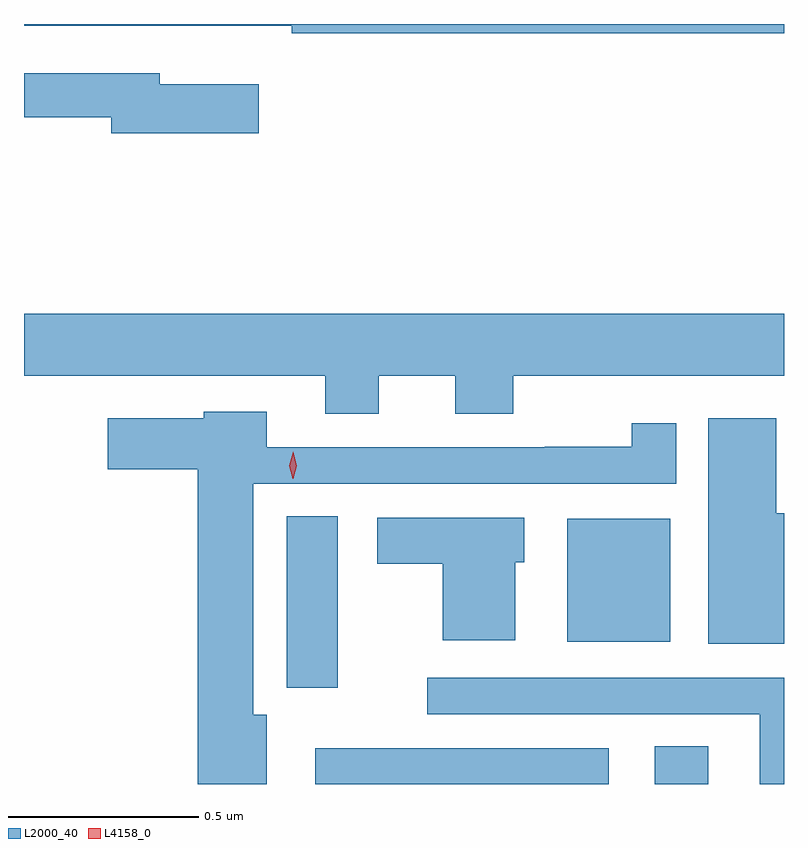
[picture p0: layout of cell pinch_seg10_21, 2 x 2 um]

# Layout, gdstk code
import gdstk
lib = gdstk.Library(unit=1e-6, precision=1e-09)
def R(c, l, rs):  # rectangles x0, y0, x1, y1
    for r in rs: c.add(gdstk.rectangle(r[:2], r[2:], *l))
def P(c, l, *ps):  # polygons
    for p in ps: c.add(gdstk.Polygon(p, *l))
L2000_40 = (2000, 40)
L4158_0 = (4158, 0)

pinch_seg10_21 = lib.new_cell('pinch_seg10_21')
R(pinch_seg10_21, L2000_40, [(951.096,1299.242,951.868,1299.336), (951.989,1299.242,952.129,1299.341), (951.02,1299.495,951.154,1299.947), (951.758,1299.617,952.03,1299.94)])
P(pinch_seg10_21, L2000_40, [(952.329,1301.242),(950.329,1301.242),(950.329,1301.238),(950.782,1301.238),(950.782,1301.237),(951.034,1301.237),(951.034,1301.218),(952.329,1301.218)],
  [(950.947,1301.083),(950.686,1301.083),(950.686,1301.112),(950.329,1301.112),(950.329,1300.996),(950.558,1300.996),(950.558,1300.954),(950.947,1300.954)],
  [(951.262,1300.316),(951.464,1300.316),(951.464,1300.217),(951.617,1300.217),(951.617,1300.316),(952.329,1300.316),(952.329,1300.48),(950.329,1300.48),(950.329,1300.316),(951.122,1300.316),(951.122,1300.217),(951.262,1300.217)],
  [(950.968,1299.424),(950.932,1299.424),(950.932,1300.032),(952.045,1300.032),(952.045,1300.192),(951.928,1300.192),(951.928,1300.13),(951.7,1300.13),(951.7,1300.128),(950.968,1300.128),(950.968,1300.222),(950.802,1300.222),(950.802,1300.204),(950.55,1300.204),(950.55,1300.07),(950.786,1300.07),(950.786,1299.242),(950.968,1299.242)],
  [(952.329,1299.955),(952.309,1299.955),(952.309,1300.204),(952.13,1300.204),(952.13,1299.611),(952.329,1299.611)],
  [(951.622,1299.825),(951.646,1299.825),(951.646,1299.943),(951.258,1299.943),(951.258,1299.821),(951.431,1299.821),(951.431,1299.62),(951.622,1299.62)],
  [(952.329,1299.522),(951.39,1299.522),(951.39,1299.426),(952.265,1299.426),(952.265,1299.242),(952.329,1299.242)])
P(pinch_seg10_21, L4158_0, [(951.036,1300.045),(951.036,1300.045),(951.027,1300.08),(951.037,1300.116),(951.037,1300.116),(951.037,1300.116),(951.047,1300.08),(951.037,1300.045)])

lib.write_gds('pinch_seg10_21.gds')
